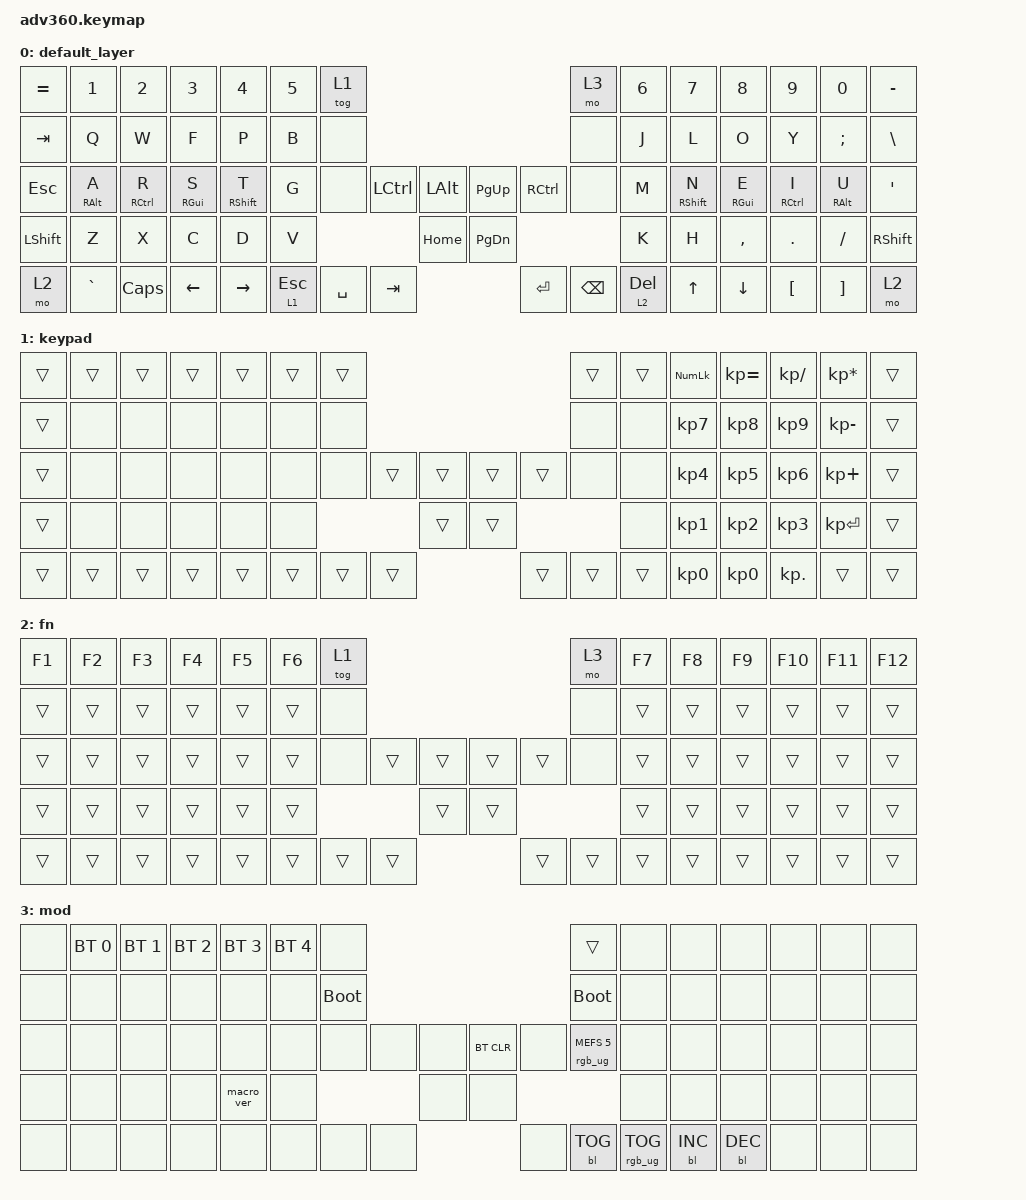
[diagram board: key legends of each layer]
#include <behaviors.dtsi>
#include <dt-bindings/zmk/backlight.h>
#include <dt-bindings/zmk/bt.h>
#include <dt-bindings/zmk/keys.h>
#include <dt-bindings/zmk/rgb.h>

/ {
    behaviors {
        #include "macros.dtsi"
      #include "version.dtsi"
      #ifndef VERSION_MACRO

        macro_ver: macro_ver {
            compatible = "zmk,behavior-macro";
            label = "macro_version";
            #binding-cells = <0>;
            bindings = <&kp RET>;
        };

        #endif

        hm: homerow_mods {
            compatible = "zmk,behavior-hold-tap";
            label = "HOMEROW_MODS";
            #binding-cells = <2>;
            tapping-term-ms = <200>;
            quick_tap_ms = <175>;
            flavor = "tap-preferred";
            bindings = <&kp>, <&kp>;
        };

        // Home row mod behaviors

        left_pinky: homey_left_pinky {
            compatible = "zmk,behavior-hold-tap";
            flavor = "tap-preferred";
            tapping-term-ms = <270>;
            quick-tap-ms = <300>;
            require-prior-idle-ms = <250>;
            #binding-cells = <2>;
            bindings = <&kp>, <&kp>;
        };

        right_pinky: homey_right_pinky {
            compatible = "zmk,behavior-hold-tap";
            flavor = "tap-preferred";
            tapping-term-ms = <270>;
            quick-tap-ms = <300>;
            require-prior-idle-ms = <250>;
            #binding-cells = <2>;
            bindings = <&kp>, <&kp>;
        };

        left_ring1: homey_left_ring1 {
            compatible = "zmk,behavior-hold-tap";
            flavor = "tap-preferred";
            tapping-term-ms = <270>;
            quick-tap-ms = <300>;
            require-prior-idle-ms = <250>;
            #binding-cells = <2>;
            bindings = <&kp>, <&kp>;
        };

        right_ring1: homey_right_ring1 {
            compatible = "zmk,behavior-hold-tap";
            flavor = "tap-preferred";
            tapping-term-ms = <270>;
            quick-tap-ms = <300>;
            require-prior-idle-ms = <250>;
            #binding-cells = <2>;
            bindings = <&kp>, <&kp>;
        };

        left_middy: homey_left_middy {
            compatible = "zmk,behavior-hold-tap";
            flavor = "tap-preferred";
            tapping-term-ms = <270>;
            quick-tap-ms = <300>;
            require-prior-idle-ms = <250>;
            #binding-cells = <2>;
            bindings = <&kp>, <&kp>;
        };

        right_middy: homey_right_middy {
            compatible = "zmk,behavior-hold-tap";
            flavor = "tap-preferred";
            tapping-term-ms = <270>;
            quick-tap-ms = <300>;
            require-prior-idle-ms = <250>;
            #binding-cells = <2>;
            bindings = <&kp>, <&kp>;
        };

        left_index: homey_left_index {
            compatible = "zmk,behavior-hold-tap";
            flavor = "balanced";
            tapping-term-ms = <150>;
            quick-tap-ms = <250>;
            require-prior-idle-ms = <100>;
            #binding-cells = <2>;
            bindings = <&kp>, <&kp>;
        };

        right_index: homey_right_index {
            compatible = "zmk,behavior-hold-tap";
            flavor = "balanced";
            tapping-term-ms = <150>;
            quick-tap-ms = <250>;
            require-prior-idle-ms = <100>;
            #binding-cells = <2>;
            bindings = <&kp>, <&kp>;
        };

        thumb_layer_tap: thumb_layer_hold_tap {
            compatible = "zmk,behavior-hold-tap";
            flavor = "balanced";
            tapping-term-ms = <200>;
            quick-tap-ms = <150>;
            global-quick-tap;
            #binding-cells = <2>;
            bindings = <&mo>, <&kp>;
        };
    };

    macros {
    };

    keymap {
        compatible = "zmk,keymap";

        default_layer {
            bindings = <
&kp EQUAL  &kp N1              &kp N2               &kp N3              &kp N4               &kp N5  &tog 1                                                                                                      &mo 3  &kp N6  &kp N7                &kp N8               &kp N9                &kp N0               &kp MINUS
&kp TAB    &kp Q               &kp W                &kp F               &kp P                &kp B   &none                                                                                                       &none  &kp J   &kp L                 &kp O                &kp Y                 &kp SEMI             &kp BSLH
&kp ESC    &left_pinky RALT A  &left_ring1 RCTRL R  &left_middy RGUI S  &left_index RSHFT T  &kp G   &none                           &kp LCTRL  &kp LALT    &kp PG_UP      &kp RCTRL                             &none  &kp M   &right_index RSHFT N  &right_middy RGUI E  &right_ring1 RCTRL I  &right_pinky RALT U  &kp SQT
&kp LSHFT  &kp Z               &kp X                &kp C               &kp D                &kp V                                              &kp HOME    &kp PAGE_DOWN                                               &kp K   &kp H                 &kp COMMA            &kp DOT               &kp FSLH             &kp RSHFT
&mo 2      &kp GRAVE           &kp CAPS             &kp LEFT            &kp RIGHT                            &thumb_layer_tap 1 ESC  &kp SPACE  &kp TAB     &kp RET        &kp BSPC   &thumb_layer_tap 2 DELETE                 &kp UP                &kp DOWN             &kp LBKT              &kp RBKT             &mo 2
            >;
        };

        keypad {
            bindings = <
&trans  &trans  &trans  &trans  &trans  &trans  &trans                                                    &trans  &trans  &kp KP_NUM  &kp KP_EQUAL  &kp KP_DIVIDE  &kp KP_MULTIPLY  &trans
&trans  &none   &none   &none   &none   &none   &none                                                     &none   &none   &kp KP_N7   &kp KP_N8     &kp KP_N9      &kp KP_MINUS     &trans
&trans  &none   &none   &none   &none   &none   &none           &trans  &trans    &trans  &trans          &none   &none   &kp KP_N4   &kp KP_N5     &kp KP_N6      &kp KP_PLUS      &trans
&trans  &none   &none   &none   &none   &none                           &trans    &trans                          &none   &kp KP_N1   &kp KP_N2     &kp KP_N3      &kp KP_ENTER     &trans
&trans  &trans  &trans  &trans  &trans                  &trans  &trans  &trans    &trans  &trans  &trans                  &kp KP_N0   &kp KP_N0     &kp KP_DOT     &trans           &trans
            >;
        };

        fn {
            bindings = <
&kp F1  &kp F2  &kp F3  &kp F4  &kp F5  &kp F6  &tog 1                                                    &mo 3  &kp F7  &kp F8  &kp F9  &kp F10  &kp F11  &kp F12
&trans  &trans  &trans  &trans  &trans  &trans  &none                                                     &none  &trans  &trans  &trans  &trans   &trans   &trans
&trans  &trans  &trans  &trans  &trans  &trans  &none           &trans  &trans    &trans  &trans          &none  &trans  &trans  &trans  &trans   &trans   &trans
&trans  &trans  &trans  &trans  &trans  &trans                          &trans    &trans                         &trans  &trans  &trans  &trans   &trans   &trans
&trans  &trans  &trans  &trans  &trans                  &trans  &trans  &trans    &trans  &trans  &trans                 &trans  &trans  &trans   &trans   &trans
            >;
        };

        mod {
            bindings = <
&none  &bt BT_SEL 0  &bt BT_SEL 1  &bt BT_SEL 2  &bt BT_SEL 3  &bt BT_SEL 4  &none                                                                        &trans                  &none  &none       &none       &none  &none  &none
&none  &none         &none         &none         &none         &none         &bootloader                                                                  &bootloader             &none  &none       &none       &none  &none  &none
&none  &none         &none         &none         &none         &none         &none               &none  &none    &bt BT_CLR  &none                        &rgb_ug RGB_MEFS_CMD 5  &none  &none       &none       &none  &none  &none
&none  &none         &none         &none         &macro_ver    &none                                    &none    &none                                                            &none  &none       &none       &none  &none  &none
&none  &none         &none         &none         &none                                    &none  &none  &none    &none       &bl BL_TOG  &rgb_ug RGB_TOG                                 &bl BL_INC  &bl BL_DEC  &none  &none  &none
            >;
        };
    };
};
